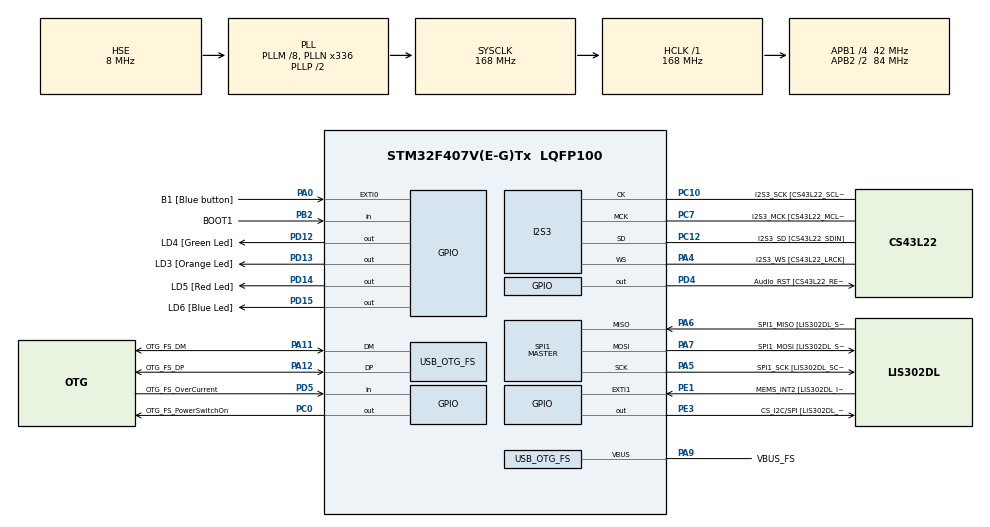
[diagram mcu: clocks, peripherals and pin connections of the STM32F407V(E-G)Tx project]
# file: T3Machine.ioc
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I2S3.AudioFreq-Half_Duplex_Master=I2S_AUDIOFREQ_96K
I2S3.ErrorAudioFreq=-2.34 %
I2S3.ErrorAudioFreq-Half_Duplex_Master=0.8 %
I2S3.FullDuplexMode=I2S_FULLDUPLEXMODE_DISABLE
I2S3.Instance=SPI$Index
I2S3.RealAudioFreq=93.75 KHz
I2S3.RealAudioFreq-Half_Duplex_Master=96.774 KHz
I2S3.VirtualMode=I2S_MODE_MASTER
Mcu.Family=STM32F4
Mcu.Name=STM32F407V(E-G)Tx
Mcu.Package=LQFP100
NVIC.EXTI0_IRQn=true\:0\:0\:false\:false\:true\:true\:true\:true
NVIC.OTG_FS_IRQn=true\:0\:0\:false\:false\:true\:true\:true\:true
NVIC.PriorityGroup=NVIC_PRIORITYGROUP_0
NVIC.TIM1_BRK_TIM9_IRQn=true\:0\:0\:false\:false\:true\:true\:true\:true
NVIC.TIM1_TRG_COM_TIM11_IRQn=true\:0\:0\:false\:false\:true\:true\:true\:true
NVIC.TIM1_UP_TIM10_IRQn=true\:0\:0\:false\:false\:true\:true\:true\:true
NVIC.TIM8_BRK_TIM12_IRQn=true\:0\:0\:false\:false\:true\:true\:true\:true
PA0-WKUP.GPIO_Label=B1 [Blue button]
PA0-WKUP.GPIO_ModeDefaultEXTI=GPIO_MODE_IT_RISING_FALLING
PA0-WKUP.Signal=GPXTI0
PA10.GPIO_Label=OTG_FS_ID
PA10.GPIO_Mode=GPIO_MODE_AF_PP
PA10.GPIO_PuPd=GPIO_NOPULL
PA10.GPIO_Speed=GPIO_SPEED_FREQ_LOW
PA10.Signal=USB_OTG_FS_ID
PA11.GPIO_Label=OTG_FS_DM
PA11.GPIO_Mode=GPIO_MODE_AF_PP
PA11.GPIO_PuPd=GPIO_NOPULL
PA11.GPIO_Speed=GPIO_SPEED_FREQ_LOW
PA11.Mode=Device_Only
PA11.Signal=USB_OTG_FS_DM
PA12.GPIO_Label=OTG_FS_DP
PA12.GPIO_Mode=GPIO_MODE_AF_PP
PA12.GPIO_PuPd=GPIO_NOPULL
PA12.GPIO_Speed=GPIO_SPEED_FREQ_LOW
PA12.Mode=Device_Only
PA12.Signal=USB_OTG_FS_DP
PA13.GPIO_Label=SWDIO
PA13.Mode=Serial_Wire
PA13.Signal=SYS_JTMS-SWDIO
PA14.GPIO_Label=SWCLK
PA14.Mode=Serial_Wire
PA14.Signal=SYS_JTCK-SWCLK
PA4.GPIO_Label=I2S3_WS [CS43L22_LRCK]
PA4.GPIO_Mode=GPIO_MODE_AF_PP
PA4.GPIO_PuPd=GPIO_NOPULL
PA4.GPIO_Speed=GPIO_SPEED_FREQ_LOW
PA4.Mode=Half_Duplex_Master
PA4.Signal=I2S3_WS
PA5.GPIO_Label=SPI1_SCK [LIS302DL_SCL/SPC]
PA5.GPIO_Mode=GPIO_MODE_AF_PP
PA5.GPIO_PuPd=GPIO_NOPULL
PA5.GPIO_Speed=GPIO_SPEED_FREQ_LOW
PA5.Mode=Full_Duplex_Master
PA5.Signal=SPI1_SCK
PA6.GPIO_Label=SPI1_MISO [LIS302DL_SDO]
PA6.GPIO_Mode=GPIO_MODE_AF_PP
PA6.GPIO_PuPd=GPIO_NOPULL
PA6.GPIO_Speed=GPIO_SPEED_FREQ_LOW
PA6.Mode=Full_Duplex_Master
PA6.Signal=SPI1_MISO
PA7.GPIO_Label=SPI1_MOSI [LIS302DL_SDA/SDI/SDO]
PA7.GPIO_Mode=GPIO_MODE_AF_PP
PA7.GPIO_PuPd=GPIO_NOPULL
PA7.GPIO_Speed=GPIO_SPEED_FREQ_LOW
PA7.Mode=Full_Duplex_Master
PA7.Signal=SPI1_MOSI
PA9.GPIO_Label=VBUS_FS
PA9.GPIO_Mode=GPIO_MODE_INPUT
PA9.GPIO_PuPd=GPIO_NOPULL
PA9.Mode=Activate_VBUS
PA9.Signal=USB_OTG_FS_VBUS
PB10.GPIO_Label=CLK_IN [MP45DT02_CLK]
PB10.GPIO_Mode=GPIO_MODE_AF_PP
PB10.GPIO_PuPd=GPIO_NOPULL
PB10.GPIO_Speed=GPIO_SPEED_FREQ_LOW
PB10.Signal=I2S2_CK
PB2.GPIO_Label=BOOT1
PB2.GPIO_Mode=GPIO_MODE_INPUT
PB2.GPIO_PuPd=GPIO_NOPULL
PB2.Signal=GPIO_Input
PB3.GPIO_Label=SWO
PB3.Signal=SYS_JTDO-SWO
PB6.GPIO_Label=Audio_SCL [CS43L22_SCL]
PB6.GPIO_Mode=GPIO_MODE_AF_OD
PB6.GPIO_Pu=GPIO_PULLUP
PB6.GPIO_PuPd=GPIO_NOPULL
PB6.GPIO_Speed=GPIO_SPEED_FREQ_LOW
PB6.Signal=I2C1_SCL
PB9.GPIO_Label=Audio_SDA [CS43L22_SDA]
PB9.GPIO_Mode=GPIO_MODE_AF_OD
PB9.GPIO_Pu=GPIO_PULLUP
PB9.GPIO_PuPd=GPIO_NOPULL
PB9.GPIO_Speed=GPIO_SPEED_FREQ_LOW
PB9.Signal=I2C1_SDA
PC0.GPIO_Label=OTG_FS_PowerSwitchOn
PC0.GPIO_PuPd=GPIO_NOPULL
PC0.GPIO_Speed=GPIO_SPEED_FREQ_LOW
PC0.PinState=GPIO_PIN_SET
PC0.Signal=GPIO_Output
PC10.GPIO_Label=I2S3_SCK [CS43L22_SCLK]
PC10.GPIO_Mode=GPIO_MODE_AF_PP
PC10.GPIO_PuPd=GPIO_NOPULL
PC10.GPIO_Speed=GPIO_SPEED_FREQ_LOW
PC10.Mode=Half_Duplex_Master
PC10.Signal=I2S3_CK
PC12.GPIO_Label=I2S3_SD [CS43L22_SDIN]
PC12.GPIO_Mode=GPIO_MODE_AF_PP
PC12.GPIO_PuPd=GPIO_NOPULL
PC12.GPIO_Speed=GPIO_SPEED_FREQ_LOW
PC12.Mode=Half_Duplex_Master
PC12.Signal=I2S3_SD
PC14-OSC32_IN.GPIO_Label=PC14-OSC32_IN
PC14-OSC32_IN.Mode=LSE-External-Oscillator
PC14-OSC32_IN.Signal=RCC_OSC32_IN
PC15-OSC32_OUT.GPIO_Label=PC15-OSC32_OUT
PC15-OSC32_OUT.Mode=LSE-External-Oscillator
PC15-OSC32_OUT.Signal=RCC_OSC32_OUT
PC3.GPIO_Label=PDM_OUT [MP45DT02_DOUT]
PC3.GPIO_Mode=GPIO_MODE_AF_PP
PC3.GPIO_PuPd=GPIO_NOPULL
PC3.GPIO_Speed=GPIO_SPEED_FREQ_LOW
PC3.Signal=I2S2_SD
PC7.GPIO_Label=I2S3_MCK [CS43L22_MCLK]
PC7.GPIO_Mode=GPIO_MODE_AF_PP
PC7.GPIO_PuPd=GPIO_NOPULL
PC7.GPIO_Speed=GPIO_SPEED_FREQ_LOW
PC7.Mode=Master_Clock_Activated
PC7.Signal=I2S3_MCK
PD12.GPIO_Label=LD4 [Green Led]
PD12.GPIO_PuPd=GPIO_NOPULL
PD12.GPIO_Speed=GPIO_SPEED_FREQ_LOW
PD12.Signal=GPIO_Output
PD13.GPIO_Label=LD3 [Orange Led]
PD13.GPIO_PuPd=GPIO_NOPULL
PD13.GPIO_Speed=GPIO_SPEED_FREQ_LOW
PD13.Signal=GPIO_Output
PD14.GPIO_Label=LD5 [Red Led]
PD14.GPIO_PuPd=GPIO_NOPULL
PD14.GPIO_Speed=GPIO_SPEED_FREQ_LOW
PD14.Signal=GPIO_Output
PD15.GPIO_Label=LD6 [Blue Led]
PD15.GPIO_PuPd=GPIO_NOPULL
PD15.GPIO_Speed=GPIO_SPEED_FREQ_LOW
PD15.Signal=GPIO_Output
PD4.GPIO_Label=Audio_RST [CS43L22_RESET]
PD4.GPIO_PuPd=GPIO_NOPULL
PD4.GPIO_Speed=GPIO_SPEED_FREQ_LOW
PD4.Signal=GPIO_Output
PD5.GPIO_Label=OTG_FS_OverCurrent
PD5.GPIO_Mode=GPIO_MODE_INPUT
PD5.GPIO_PuPd=GPIO_NOPULL
PD5.Signal=GPIO_Input
PE1.GPIO_Label=MEMS_INT2 [LIS302DL_INT2]
PE1.GPIO_ModeDefaultEXTI=GPIO_MODE_EVT_RISING
PE1.GPIO_PuPd=GPIO_NOPULL
PE1.Signal=GPXTI1
PE3.GPIO_Label=CS_I2C/SPI [LIS302DL_CS_I2C/SPI]
PE3.GPIO_PuPd=GPIO_NOPULL
PE3.GPIO_Speed=GPIO_SPEED_FREQ_LOW
PE3.Signal=GPIO_Output
PH0-OSC_IN.GPIO_Label=PH0-OSC_IN
PH0-OSC_IN.Mode=HSE-External-Oscillator
PH0-OSC_IN.Signal=RCC_OSC_IN
PH1-OSC_OUT.GPIO_Label=PH1-OSC_OUT
PH1-OSC_OUT.Mode=HSE-External-Oscillator
PH1-OSC_OUT.Signal=RCC_OSC_OUT
ProjectManager.HeapSize=0x200
ProjectManager.StackSize=0x400
ProjectManager.TargetToolchain=STM32CubeIDE
RCC.48MHZClocksFreq_Value=48000000
RCC.AHBFreq_Value=168000000
RCC.APB1CLKDivider=RCC_HCLK_DIV4
RCC.APB1Freq_Value=42000000
RCC.APB1TimFreq_Value=84000000
RCC.APB2CLKDivider=RCC_HCLK_DIV2
RCC.APB2Freq_Value=84000000
RCC.APB2TimFreq_Value=168000000
RCC.CortexFreq_Value=168000000
RCC.HCLKFreq_Value=168000000
RCC.HSE_VALUE=8000000
RCC.HSI_VALUE=16000000
RCC.PLLM=8
RCC.PLLN=336
RCC.PLLQ=7
RCC.SYSCLKFreq_VALUE=168000000
RCC.SYSCLKSource=RCC_SYSCLKSOURCE_PLLCLK
RCC.VCOOutputFreq_Value=336000000
SPI1.BaudRatePrescaler-Full_Duplex_Master=SPI_BAUDRATEPRESCALER_2
SPI1.CalculateBaudRate-Full_Duplex_Master=42.0 MBits/s
SPI1.Direction=SPI_DIRECTION_2LINES
SPI1.Mode=SPI_MODE_MASTER
SPI1.Mode-Full_Duplex_Master=SPI_MODE_MASTER
SPI1.VirtualType=VM_MASTER
TIM10.Period=10000-1
TIM10.Prescaler=16800-1
TIM11.Period=10000-1
TIM11.Prescaler=16800-1
TIM12.Period=10000-1
TIM12.Prescaler=16800-1
TIM9.Period=10000-1
TIM9.Prescaler=16800-1
USB_DEVICE.CLASS_NAME_FS=CDC
USB_DEVICE.VirtualMode-CDC_FS=Cdc
USB_DEVICE.VirtualModeFS=Cdc_FS
USB_OTG_FS.VirtualMode=Device_Only
VP_TIM10_VS_ClockSourceINT.Mode=Enable_Timer
VP_TIM11_VS_ClockSourceINT.Mode=Enable_Timer
VP_TIM12_VS_ClockSourceINT.Mode=Internal
VP_TIM9_VS_ClockSourceINT.Mode=Internal
VP_USB_DEVICE_VS_USB_DEVICE_CDC_FS.Mode=CDC_FS
board=STM32F407G-DISC1

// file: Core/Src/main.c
/* USER CODE BEGIN Header */
/**
  ******************************************************************************
  * @file           : main.c
  * @brief          : Main program body
  ******************************************************************************
  * @attention
  *
  * Copyright (c) 2023 STMicroelectronics.
  * All rights reserved.
  *
  * This software is licensed under terms that can be found in the LICENSE file
  * in the root directory of this software component.
  * If no LICENSE file comes with this software, it is provided AS-IS.
  *
  ******************************************************************************
  */
/* USER CODE END Header */
#include "main.h"
#include "usb_device.h"

/* USER CODE BEGIN Includes */
#include "cpp_main.h"

/* USER CODE END Includes */

I2S_HandleTypeDef hi2s3;

SPI_HandleTypeDef hspi1;

TIM_HandleTypeDef htim9;
TIM_HandleTypeDef htim10;
TIM_HandleTypeDef htim11;
TIM_HandleTypeDef htim12;

void SystemClock_Config(void);
static void MX_GPIO_Init(void);
static void MX_I2S3_Init(void);
static void MX_SPI1_Init(void);
static void MX_TIM10_Init(void);
static void MX_TIM11_Init(void);
static void MX_TIM9_Init(void);
static void MX_TIM12_Init(void);

int main(void)
{

  /* MCU Configuration--------------------------------------------------------*/

  /* Reset of all peripherals, Initializes the Flash interface and the Systick. */
  HAL_Init();

  /* Configure the system clock */
  SystemClock_Config();

  /* Initialize all configured peripherals */
  MX_GPIO_Init();
  MX_I2S3_Init();
  MX_SPI1_Init();
  MX_TIM10_Init();
  MX_TIM11_Init();
  MX_TIM9_Init();
  MX_TIM12_Init();
  MX_USB_DEVICE_Init();
  /* USER CODE BEGIN 2 */
  //call CPP main
	cpp_main();

  /* USER CODE END 2 */

  /* Infinite loop */
  /* USER CODE BEGIN WHILE */
  //TODO: do something with MX_USB_HOST_Process()-call below
    /* USER CODE END WHILE */

}

void SystemClock_Config(void)
{
  RCC_OscInitTypeDef RCC_OscInitStruct = {0};
  RCC_ClkInitTypeDef RCC_ClkInitStruct = {0};

  /** Configure the main internal regulator output voltage
  */
  __HAL_RCC_PWR_CLK_ENABLE();
  __HAL_PWR_VOLTAGESCALING_CONFIG(PWR_REGULATOR_VOLTAGE_SCALE1);

  /** Initializes the RCC Oscillators according to the specified parameters
  * in the RCC_OscInitTypeDef structure.
  */
  RCC_OscInitStruct.OscillatorType = RCC_OSCILLATORTYPE_HSE;
  RCC_OscInitStruct.HSEState = RCC_HSE_ON;
  RCC_OscInitStruct.PLL.PLLState = RCC_PLL_ON;
  RCC_OscInitStruct.PLL.PLLSource = RCC_PLLSOURCE_HSE;
  RCC_OscInitStruct.PLL.PLLM = 8;
  RCC_OscInitStruct.PLL.PLLN = 336;
  RCC_OscInitStruct.PLL.PLLP = RCC_PLLP_DIV2;
  RCC_OscInitStruct.PLL.PLLQ = 7;
  if (HAL_RCC_OscConfig(&RCC_OscInitStruct) != HAL_OK)
  {
    Error_Handler();
  }

  /** Initializes the CPU, AHB and APB buses clocks
  */
  RCC_ClkInitStruct.ClockType = RCC_CLOCKTYPE_HCLK|RCC_CLOCKTYPE_SYSCLK
                              |RCC_CLOCKTYPE_PCLK1|RCC_CLOCKTYPE_PCLK2;
  RCC_ClkInitStruct.SYSCLKSource = RCC_SYSCLKSOURCE_PLLCLK;
  RCC_ClkInitStruct.AHBCLKDivider = RCC_SYSCLK_DIV1;
  RCC_ClkInitStruct.APB1CLKDivider = RCC_HCLK_DIV4;
  RCC_ClkInitStruct.APB2CLKDivider = RCC_HCLK_DIV2;

  if (HAL_RCC_ClockConfig(&RCC_ClkInitStruct, FLASH_LATENCY_5) != HAL_OK)
  {
    Error_Handler();
  }
}

static void MX_I2S3_Init(void)
{

  hi2s3.Instance = SPI3;
  hi2s3.Init.Mode = I2S_MODE_MASTER_TX;
  hi2s3.Init.Standard = I2S_STANDARD_PHILIPS;
  hi2s3.Init.DataFormat = I2S_DATAFORMAT_16B;
  hi2s3.Init.MCLKOutput = I2S_MCLKOUTPUT_ENABLE;
  hi2s3.Init.AudioFreq = I2S_AUDIOFREQ_96K;
  hi2s3.Init.CPOL = I2S_CPOL_LOW;
  hi2s3.Init.ClockSource = I2S_CLOCK_PLL;
  hi2s3.Init.FullDuplexMode = I2S_FULLDUPLEXMODE_DISABLE;
  if (HAL_I2S_Init(&hi2s3) != HAL_OK)
  {
    Error_Handler();
  }

}

static void MX_SPI1_Init(void)
{

  /* SPI1 parameter configuration*/
  hspi1.Instance = SPI1;
  hspi1.Init.Mode = SPI_MODE_MASTER;
  hspi1.Init.Direction = SPI_DIRECTION_2LINES;
  hspi1.Init.DataSize = SPI_DATASIZE_8BIT;
  hspi1.Init.CLKPolarity = SPI_POLARITY_LOW;
  hspi1.Init.CLKPhase = SPI_PHASE_1EDGE;
  hspi1.Init.NSS = SPI_NSS_SOFT;
  hspi1.Init.BaudRatePrescaler = SPI_BAUDRATEPRESCALER_2;
  hspi1.Init.FirstBit = SPI_FIRSTBIT_MSB;
  hspi1.Init.TIMode = SPI_TIMODE_DISABLE;
  hspi1.Init.CRCCalculation = SPI_CRCCALCULATION_DISABLE;
  hspi1.Init.CRCPolynomial = 10;
  if (HAL_SPI_Init(&hspi1) != HAL_OK)
  {
    Error_Handler();
  }

}

static void MX_TIM9_Init(void)
{

  TIM_ClockConfigTypeDef sClockSourceConfig = {0};

  htim9.Instance = TIM9;
  htim9.Init.Prescaler = 16800-1;
  htim9.Init.CounterMode = TIM_COUNTERMODE_UP;
  htim9.Init.Period = 10000-1;
  htim9.Init.ClockDivision = TIM_CLOCKDIVISION_DIV1;
  htim9.Init.AutoReloadPreload = TIM_AUTORELOAD_PRELOAD_DISABLE;
  if (HAL_TIM_Base_Init(&htim9) != HAL_OK)
  {
    Error_Handler();
  }
  sClockSourceConfig.ClockSource = TIM_CLOCKSOURCE_INTERNAL;
  if (HAL_TIM_ConfigClockSource(&htim9, &sClockSourceConfig) != HAL_OK)
  {
    Error_Handler();
  }

}

static void MX_TIM10_Init(void)
{

  htim10.Instance = TIM10;
  htim10.Init.Prescaler = 16800-1;
  htim10.Init.CounterMode = TIM_COUNTERMODE_UP;
  htim10.Init.Period = 10000-1;
  htim10.Init.ClockDivision = TIM_CLOCKDIVISION_DIV1;
  htim10.Init.AutoReloadPreload = TIM_AUTORELOAD_PRELOAD_DISABLE;
  if (HAL_TIM_Base_Init(&htim10) != HAL_OK)
  {
    Error_Handler();
  }

}

static void MX_TIM11_Init(void)
{

  htim11.Instance = TIM11;
  htim11.Init.Prescaler = 16800-1;
  htim11.Init.CounterMode = TIM_COUNTERMODE_UP;
  htim11.Init.Period = 10000-1;
  htim11.Init.ClockDivision = TIM_CLOCKDIVISION_DIV1;
  htim11.Init.AutoReloadPreload = TIM_AUTORELOAD_PRELOAD_DISABLE;
  if (HAL_TIM_Base_Init(&htim11) != HAL_OK)
  {
    Error_Handler();
  }

}

static void MX_TIM12_Init(void)
{

  TIM_ClockConfigTypeDef sClockSourceConfig = {0};

  htim12.Instance = TIM12;
  htim12.Init.Prescaler = 16800-1;
  htim12.Init.CounterMode = TIM_COUNTERMODE_UP;
  htim12.Init.Period = 10000-1;
  htim12.Init.ClockDivision = TIM_CLOCKDIVISION_DIV1;
  htim12.Init.AutoReloadPreload = TIM_AUTORELOAD_PRELOAD_DISABLE;
  if (HAL_TIM_Base_Init(&htim12) != HAL_OK)
  {
    Error_Handler();
  }
  sClockSourceConfig.ClockSource = TIM_CLOCKSOURCE_INTERNAL;
  if (HAL_TIM_ConfigClockSource(&htim12, &sClockSourceConfig) != HAL_OK)
  {
    Error_Handler();
  }

}

static void MX_GPIO_Init(void)
{
  GPIO_InitTypeDef GPIO_InitStruct = {0};

  /* GPIO Ports Clock Enable */
  __HAL_RCC_GPIOE_CLK_ENABLE();
  __HAL_RCC_GPIOC_CLK_ENABLE();
  __HAL_RCC_GPIOH_CLK_ENABLE();
  __HAL_RCC_GPIOA_CLK_ENABLE();
  __HAL_RCC_GPIOB_CLK_ENABLE();
  __HAL_RCC_GPIOD_CLK_ENABLE();

  /*Configure GPIO pin Output Level */
  HAL_GPIO_WritePin(CS_I2C_SPI_GPIO_Port, CS_I2C_SPI_Pin, GPIO_PIN_RESET);

  /*Configure GPIO pin Output Level */
  HAL_GPIO_WritePin(OTG_FS_PowerSwitchOn_GPIO_Port, OTG_FS_PowerSwitchOn_Pin, GPIO_PIN_SET);

  /*Configure GPIO pin Output Level */
  HAL_GPIO_WritePin(GPIOD, LD4_Pin|LD3_Pin|LD5_Pin|LD6_Pin
                          |Audio_RST_Pin, GPIO_PIN_RESET);

  /*Configure GPIO pin : CS_I2C_SPI_Pin */
  GPIO_InitStruct.Pin = CS_I2C_SPI_Pin;
  GPIO_InitStruct.Mode = GPIO_MODE_OUTPUT_PP;
  GPIO_InitStruct.Pull = GPIO_NOPULL;
  GPIO_InitStruct.Speed = GPIO_SPEED_FREQ_LOW;
  HAL_GPIO_Init(CS_I2C_SPI_GPIO_Port, &GPIO_InitStruct);

  /*Configure GPIO pin : OTG_FS_PowerSwitchOn_Pin */
  GPIO_InitStruct.Pin = OTG_FS_PowerSwitchOn_Pin;
  GPIO_InitStruct.Mode = GPIO_MODE_OUTPUT_PP;
  GPIO_InitStruct.Pull = GPIO_NOPULL;
  GPIO_InitStruct.Speed = GPIO_SPEED_FREQ_LOW;
  HAL_GPIO_Init(OTG_FS_PowerSwitchOn_GPIO_Port, &GPIO_InitStruct);

  /*Configure GPIO pin : PDM_OUT_Pin */
  GPIO_InitStruct.Pin = PDM_OUT_Pin;
  GPIO_InitStruct.Mode = GPIO_MODE_AF_PP;
  GPIO_InitStruct.Pull = GPIO_NOPULL;
  GPIO_InitStruct.Speed = GPIO_SPEED_FREQ_LOW;
  GPIO_InitStruct.Alternate = GPIO_AF5_SPI2;
  HAL_GPIO_Init(PDM_OUT_GPIO_Port, &GPIO_InitStruct);

  /*Configure GPIO pin : B1_Pin */
  GPIO_InitStruct.Pin = B1_Pin;
  GPIO_InitStruct.Mode = GPIO_MODE_IT_RISING_FALLING;
  GPIO_InitStruct.Pull = GPIO_NOPULL;
  HAL_GPIO_Init(B1_GPIO_Port, &GPIO_InitStruct);

  /*Configure GPIO pin : BOOT1_Pin */
  GPIO_InitStruct.Pin = BOOT1_Pin;
  GPIO_InitStruct.Mode = GPIO_MODE_INPUT;
  GPIO_InitStruct.Pull = GPIO_NOPULL;
  HAL_GPIO_Init(BOOT1_GPIO_Port, &GPIO_InitStruct);

  /*Configure GPIO pin : CLK_IN_Pin */
  GPIO_InitStruct.Pin = CLK_IN_Pin;
  GPIO_InitStruct.Mode = GPIO_MODE_AF_PP;
  GPIO_InitStruct.Pull = GPIO_NOPULL;
  GPIO_InitStruct.Speed = GPIO_SPEED_FREQ_LOW;
  GPIO_InitStruct.Alternate = GPIO_AF5_SPI2;
  HAL_GPIO_Init(CLK_IN_GPIO_Port, &GPIO_InitStruct);

  /*Configure GPIO pins : LD4_Pin LD3_Pin LD5_Pin LD6_Pin
                           Audio_RST_Pin */
  GPIO_InitStruct.Pin = LD4_Pin|LD3_Pin|LD5_Pin|LD6_Pin
                          |Audio_RST_Pin;
  GPIO_InitStruct.Mode = GPIO_MODE_OUTPUT_PP;
  GPIO_InitStruct.Pull = GPIO_NOPULL;
  GPIO_InitStruct.Speed = GPIO_SPEED_FREQ_LOW;
  HAL_GPIO_Init(GPIOD, &GPIO_InitStruct);

  /*Configure GPIO pin : OTG_FS_OverCurrent_Pin */
  GPIO_InitStruct.Pin = OTG_FS_OverCurrent_Pin;
  GPIO_InitStruct.Mode = GPIO_MODE_INPUT;
  GPIO_InitStruct.Pull = GPIO_NOPULL;
  HAL_GPIO_Init(OTG_FS_OverCurrent_GPIO_Port, &GPIO_InitStruct);

  /*Configure GPIO pins : Audio_SCL_Pin Audio_SDA_Pin */
  GPIO_InitStruct.Pin = Audio_SCL_Pin|Audio_SDA_Pin;
  GPIO_InitStruct.Mode = GPIO_MODE_AF_OD;
  GPIO_InitStruct.Pull = GPIO_PULLUP;
  GPIO_InitStruct.Speed = GPIO_SPEED_FREQ_LOW;
  GPIO_InitStruct.Alternate = GPIO_AF4_I2C1;
  HAL_GPIO_Init(GPIOB, &GPIO_InitStruct);

  /*Configure GPIO pin : MEMS_INT2_Pin */
  GPIO_InitStruct.Pin = MEMS_INT2_Pin;
  GPIO_InitStruct.Mode = GPIO_MODE_EVT_RISING;
  GPIO_InitStruct.Pull = GPIO_NOPULL;
  HAL_GPIO_Init(MEMS_INT2_GPIO_Port, &GPIO_InitStruct);

  /* EXTI interrupt init*/
  HAL_NVIC_SetPriority(EXTI0_IRQn, 0, 0);
  HAL_NVIC_EnableIRQ(EXTI0_IRQn);

}

/* USER CODE BEGIN 4 */
//TODO: maybe make below 'weak' calls, or just remove them entirely and let them be generated in stm32f4xx_it.c
void EXTI1_IRQHandler(){
	//forward to HAL
	HAL_GPIO_EXTI_IRQHandler(GPIO_PIN_1);
}
void EXTI2_IRQHandler(){
	//forward to HAL
	HAL_GPIO_EXTI_IRQHandler(GPIO_PIN_2);
}
void EXTI3_IRQHandler(){
	//forward to HAL
	HAL_GPIO_EXTI_IRQHandler(GPIO_PIN_3);
}
void EXTI4_IRQHandler(){
	//forward to HAL
	HAL_GPIO_EXTI_IRQHandler(GPIO_PIN_4);
}
void EXTI9_5_IRQHandler(){
	//forward to HAL

//	if(__HAL_GPIO_EXTI_GET_FLAG(GPIO_PIN_5)) {
		HAL_GPIO_EXTI_IRQHandler(GPIO_PIN_5);
//	}
//	if(__HAL_GPIO_EXTI_GET_FLAG(GPIO_PIN_6)) {
		HAL_GPIO_EXTI_IRQHandler(GPIO_PIN_6);
//	}
//	if(__HAL_GPIO_EXTI_GET_FLAG(GPIO_PIN_7)) {
		HAL_GPIO_EXTI_IRQHandler(GPIO_PIN_7);
//	}
//	if(__HAL_GPIO_EXTI_GET_FLAG(GPIO_PIN_8)) {
		HAL_GPIO_EXTI_IRQHandler(GPIO_PIN_8);
//	}
//	if(__HAL_GPIO_EXTI_GET_FLAG(GPIO_PIN_9)) {
		HAL_GPIO_EXTI_IRQHandler(GPIO_PIN_9);
//	}
}

void EXTI15_10_IRQHandler(){
	//forward to HAL
	//TODO: discover which pin was triggered
//	if(__HAL_GPIO_EXTI_GET_FLAG(GPIO_PIN_10)) {
		HAL_GPIO_EXTI_IRQHandler(GPIO_PIN_10);
//	}
//	if(__HAL_GPIO_EXTI_GET_FLAG(GPIO_PIN_11)) {
		HAL_GPIO_EXTI_IRQHandler(GPIO_PIN_11);
//	}
//	if(__HAL_GPIO_EXTI_GET_FLAG(GPIO_PIN_12)) {
		HAL_GPIO_EXTI_IRQHandler(GPIO_PIN_12);
//	}
//	if(__HAL_GPIO_EXTI_GET_FLAG(GPIO_PIN_13)) {
		HAL_GPIO_EXTI_IRQHandler(GPIO_PIN_13);
//	}
//	if(__HAL_GPIO_EXTI_GET_FLAG(GPIO_PIN_14)) {
		HAL_GPIO_EXTI_IRQHandler(GPIO_PIN_14);
//	}
//	if(__HAL_GPIO_EXTI_GET_FLAG(GPIO_PIN_15)) {
		HAL_GPIO_EXTI_IRQHandler(GPIO_PIN_15);
//	}
}

void HAL_GPIO_EXTI_Callback(uint16_t pin)
{
	//forward to cpp_main
	CPP_HAL_GPIO_EXTI_Callback(pin);
}

// Callback: timer has rolled over
void HAL_TIM_PeriodElapsedCallback(TIM_HandleTypeDef * htim) {
	//forward to cpp_main
	CPP_HAL_TIM_PeriodElapsedCallback(htim);
}

//TODO: move Error_Handler to main.c or something? Basically just separate main.cpp and main.c
/* USER CODE END 4 */

void Error_Handler(void)
{
	__disable_irq();
	while (1)
	{
	}
}
